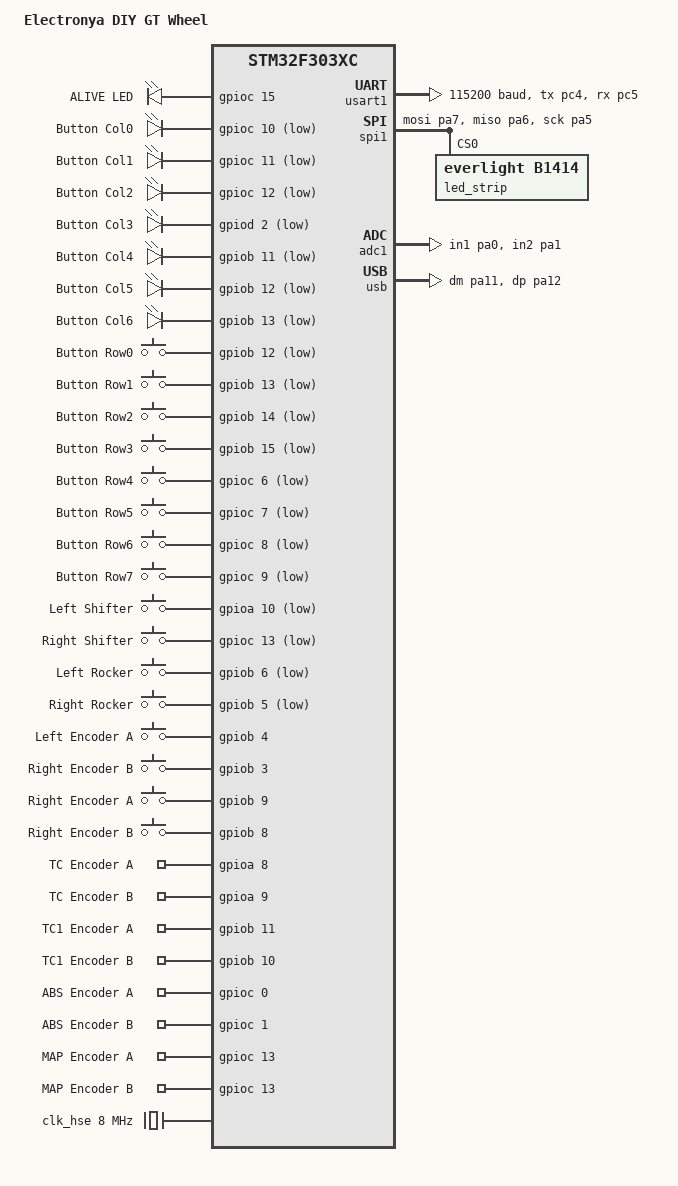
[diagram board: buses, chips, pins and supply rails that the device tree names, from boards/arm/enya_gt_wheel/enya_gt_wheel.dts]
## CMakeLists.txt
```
# Find Zephyr. This also loads Zephyr's build system.
cmake_minimum_required(VERSION 3.20.0)

# Set Zephyr environment
find_package(Zephyr REQUIRED HINTS $ENV{ZEPHYR_BASE})
project(app)

# Add application src directory to include path for modules (e.g., datastoreMeta.h)
zephyr_include_directories(${CMAKE_CURRENT_SOURCE_DIR}/src)

# Add your source file to the "app" target. This must come after
# find_package(Zephyr) which defines the target.
include(${CMAKE_CURRENT_SOURCE_DIR}/cmake/listSourcesAndIncludes.cmake)

set(SRC "")
set(INC "")

listSources(${CMAKE_CURRENT_SOURCE_DIR}/src SRC)
listIncludesDir(${CMAKE_CURRENT_SOURCE_DIR}/src INC)

# message("SRC: ${SRC}")
# message("INC: ${INC}")

target_sources(app PRIVATE ${SRC})
target_include_directories(app PRIVATE ${INC})
```

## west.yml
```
# Electronya GT Wheel Firmware Manifest
manifest:
  remotes:
    - name: electronya
      url-base: git@gitea.main-server.home:Electronya
    - name: zephyr
      url-base: https://github.com/zephyrproject-rtos

  self:
    path: app

  projects:
    - name: zephyr
      remote: zephyr
      repo-path: zephyr.git
      path: zephyr
      revision: v4.3-branch
      import: true
    - name: embedded-services
      remote: electronya
      repo-path: embedded-services.git
      path: apps/embedded-services
      revision: main
```

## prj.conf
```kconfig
# Shell configuration
CONFIG_SHELL=y

# Logging configuration
CONFIG_LOG=y
CONFIG_LOG_RUNTIME_FILTERING=y
CONFIG_LOG_BUFFER_SIZE=512
CONFIG_LOG_PRINTK=n
CONFIG_LOG_PROCESS_TRIGGER_THRESHOLD=0
CONFIG_LOG_DEFAULT_LEVEL=3

# Electronya services
CONFIG_ENYA_EMBEDDED_SERVICES=y
```

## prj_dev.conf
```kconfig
# Development overlay — applied on top of prj.conf via EXTRA_CONF_FILE
# (see activate.sh -d).

# Logging configuration
CONFIG_LOG_BUFFER_SIZE=1024
CONFIG_LOG_DEFAULT_LEVEL=4
CONFIG_SPI_LOG_LEVEL_OFF=y
CONFIG_DMA_LOG_LEVEL_OFF=y

# Thread Analyzer
# CONFIG_THREAD_ANALYZER=y
# CONFIG_THREAD_ANALYZER_USE_PRINTK=y
# CONFIG_THREAD_ANALYZER_AUTO=y
# CONFIG_THREAD_ANALYZER_AUTO_INTERVAL=10

# Core Dump
# CONFIG_DEBUG_COREDUMP=y
# CONFIG_DEBUG_COREDUMP_BACKEND_LOGGING=y
```

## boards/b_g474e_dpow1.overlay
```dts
#include <zephyr/dt-bindings/dma/stm32_dma.h>
#include <zephyr/dt-bindings/led/led.h>

/ {
  aliases {
    adc-trigger = &adc_trigger_counter;
    watchdog0 = &iwdg;
    led-strip = &ws2812;
    simhub-uart = &cdc_acm_uart0;
  };

  zephyr,user {
    io-channels = <&adc1 1>, <&adc1 2>, <&adc1 3>, <&adc1 18>;
    vref-channel-index = <3>;
  };
};

&dma1 {
  status = "okay";
};

&dmamux1 {
  status = "okay";
};

&timers6 {
  status = "okay";
  st,prescaler = <63999>;  // 128MHz / (63999 + 1) = 2kHz timer clock

  adc_trigger_counter: counter {
    compatible = "st,stm32-counter";
    status = "okay";
  };
};

&usart1 {
  status = "okay";
  pinctrl-0 = <&usart1_tx_pa9>;
  pinctrl-names = "default";
  current-speed = <4000000>;  // 128MHz APB2 / 32 = 4MHz (exact)
  data-bits = <8>;             // frame = 1+8+1 = 10 bits, multiple of bits-per-symbol=5
  tx-invert;                   // produce idle-low signal required by WS2812
  dmas = <&dmamux1 2 25 (STM32_DMA_MEMORY_TO_PERIPH | STM32_DMA_MEM_INC | STM32_DMA_PERIPH_8BITS | STM32_DMA_MEM_8BITS)>;
  dma-names = "tx";

  ws2812: ws2812 {
    compatible = "worldsemi,ws2812-uart";
    status = "okay";
    bits-per-symbol = <5>;
    one-symbol = <30>;  // 0b11110: T1H=1000ns T1L=250ns at 4MHz
    zero-symbol = <16>; // 0b10000: T0H=250ns  T0L=1000ns at 4MHz
    chain-length = <8>;
    color-mapping = <LED_COLOR_ID_GREEN
                     LED_COLOR_ID_RED
                     LED_COLOR_ID_BLUE>;
    reset-delay = <280>;
  };
};

&zephyr_udc0 {
  cdc_acm_uart0: cdc_acm_uart0 {
    compatible = "zephyr,cdc-acm-uart";
  };
};

&adc1 {
  status = "okay";
  pinctrl-0 = <&adc1_in1_pa0>, <&adc1_in2_pa1>, <&adc1_in3_pa2>;
  pinctrl-names = "default";
  st,adc-clock-source = "SYNC";
  st,adc-prescaler = <4>;
  #address-cells = <1>;
  #size-cells = <0>;

  dmas = <&dmamux1 1 5 (STM32_DMA_PERIPH_TO_MEMORY | STM32_DMA_MEM_INC | STM32_DMA_PERIPH_16BITS | STM32_DMA_MEM_16BITS)>;
  dma-names = "adc";

  channel1: channel@1 {
    reg = <1>;
    zephyr,gain = "ADC_GAIN_1";
    zephyr,reference = "ADC_REF_INTERNAL";
    zephyr,acquisition-time = <ADC_ACQ_TIME(ADC_ACQ_TIME_TICKS, 48)>;
    zephyr,oversampling = <4>;
    zephyr,resolution = <12>;
  };

  channel2: channel@2 {
    reg = <2>;
    zephyr,gain = "ADC_GAIN_1";
    zephyr,reference = "ADC_REF_INTERNAL";
    zephyr,acquisition-time = <ADC_ACQ_TIME(ADC_ACQ_TIME_TICKS, 48)>;
    zephyr,oversampling = <4>;
    zephyr,resolution = <12>;
  };

  channel3: channel@3 {
    reg = <3>;
    zephyr,gain = "ADC_GAIN_1";
    zephyr,reference = "ADC_REF_INTERNAL";
    zephyr,acquisition-time = <ADC_ACQ_TIME(ADC_ACQ_TIME_TICKS, 48)>;
    zephyr,oversampling = <4>;
    zephyr,resolution = <12>;
  };

  channel18: channel@12 {
    reg = <18>;
    zephyr,gain = "ADC_GAIN_1";
    zephyr,reference = "ADC_REF_INTERNAL";
    zephyr,acquisition-time = <ADC_ACQ_TIME(ADC_ACQ_TIME_TICKS, 48)>;
    zephyr,oversampling = <4>;
    zephyr,resolution = <12>;
  };
};
```

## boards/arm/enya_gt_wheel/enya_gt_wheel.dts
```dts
/*
 * Copyright (c) 2023 Electronya
 */

/dts-v1/;
#include <st/f3/stm32f303Xc.dtsi>
#include <st/f3/stm32f303v(b-c)tx-pinctrl.dtsi>
#include <zephyr/dt-bindings/led/led.h>

#include "./ws2812B-bindings.h"

/ {
	model = "Electronya DIY GT Wheel";
	compatible = "en,enya-gt-wheel";

	chosen {
		zephyr,console = &usart1;
		zephyr,shell-uart = &usart1;
		zephyr,sram = &sram0;
		zephyr,flash = &flash0;
	};

	leds {
		compatible = "gpio-leds";
		led_alive: led_alive {
			gpios = <&gpioc 15 GPIO_ACTIVE_HIGH>;
			label = "ALIVE LED";
		};

    /* the following are not LED but merely output GPIOs */
    btn_col0: btn_col0 {
			gpios = <&gpioc 10 GPIO_ACTIVE_LOW>;
			label = "Button Col0";
		};
    btn_col1: btn_col1 {
			gpios = <&gpioc 11 GPIO_ACTIVE_LOW>;
			label = "Button Col1";
		};
    btn_col2: btn_col2 {
			gpios = <&gpioc 12 GPIO_ACTIVE_LOW>;
			label = "Button Col2";
		};
    btn_col3: btn_col3 {
			gpios = <&gpiod 2 GPIO_ACTIVE_LOW>;
			label = "Button Col3";
		};
    btn_col4: btn_col4 {
			gpios = <&gpiob 11 GPIO_ACTIVE_LOW>;
			label = "Button Col4";
		};
    btn_col5: btn_col5 {
			gpios = <&gpiob 12 GPIO_ACTIVE_LOW>;
			label = "Button Col5";
		};
    btn_col6: btn_col6 {
			gpios = <&gpiob 13 GPIO_ACTIVE_LOW>;
			label = "Button Col6";
		};
	};

	gpio_keys {
		compatible = "gpio-keys";
		btn_row0: btn_row0 {
			gpios = <&gpiob 12 (GPIO_ACTIVE_LOW | GPIO_PULL_UP)>;
      label = "Button Row0";
		};
    btn_row1: btn_row1 {
			gpios = <&gpiob 13 (GPIO_ACTIVE_LOW | GPIO_PULL_UP)>;
      label = "Button Row1";
		};
    btn_row2: btn_row2 {
			gpios = <&gpiob 14 (GPIO_ACTIVE_LOW | GPIO_PULL_UP)>;
      label = "Button Row2";
		};
    btn_row3: btn_row3 {
			gpios = <&gpiob 15 (GPIO_ACTIVE_LOW | GPIO_PULL_UP)>;
      label = "Button Row3";
		};
    btn_row4: btn_row4 {
			gpios = <&gpioc 6 (GPIO_ACTIVE_LOW | GPIO_PULL_UP)>;
      label = "Button Row4";
		};
    btn_row5: btn_row5 {
			gpios = <&gpioc 7 (GPIO_ACTIVE_LOW | GPIO_PULL_UP)>;
      label = "Button Row5";
		};
    btn_row6: btn_row6 {
			gpios = <&gpioc 8 (GPIO_ACTIVE_LOW | GPIO_PULL_UP)>;
      label = "Button Row6";
		};
    btn_row7: btn_row7 {
			gpios = <&gpioc 9 (GPIO_ACTIVE_LOW | GPIO_PULL_UP)>;
      label = "Button Row7";
		};
    left_shifter: left_shifter {
			gpios = <&gpioa 10 (GPIO_ACTIVE_LOW)>;
      label = "Left Shifter";
		};
    right_shifter: right_shifter {
			gpios = <&gpioc 13 (GPIO_ACTIVE_LOW)>;
      label = "Right Shifter";
		};
    left_rocker: left_rocker {
			gpios = <&gpiob 6 (GPIO_ACTIVE_LOW)>;
      label = "Left Rocker";
		};
    right_rocker: right_rocker {
			gpios = <&gpiob 5 (GPIO_ACTIVE_LOW)>;
      label = "Right Rocker";
		};
    left_enc_a: left_enc_a {
			gpios = <&gpiob 4 (GPIO_ACTIVE_HIGH)>;
      label = "Left Encoder A";
		};
    left_enc_b: left_enc_b {
			gpios = <&gpiob 3 (GPIO_ACTIVE_HIGH)>;
      label = "Right Encoder B";
		};
    right_enc_a: right_enc_a {
			gpios = <&gpiob 9 (GPIO_ACTIVE_HIGH)>;
      label = "Right Encoder A";
		};
    right_enc_b: right_enc_b {
			gpios = <&gpiob 8 (GPIO_ACTIVE_HIGH)>;
      label = "Right Encoder B";
		};
    tc_enc_a: tc_enc_a {
			gpios = <&gpioa 8 (GPIO_ACTIVE_HIGH)>;
      label = "TC Encoder A";
		};
    tc_enc_b: tc_enc_b {
			gpios = <&gpioa 9 (GPIO_ACTIVE_HIGH)>;
      label = "TC Encoder B";
		};
    tc1_enc_a: tc1_enc_a {
			gpios = <&gpiob 11 (GPIO_ACTIVE_HIGH)>;
      label = "TC1 Encoder A";
		};
    tc1_enc_b: tc1_enc_b {
			gpios = <&gpiob 10 (GPIO_ACTIVE_HIGH)>;
      label = "TC1 Encoder B";
		};
    abs_enc_a: abs_enc_a {
			gpios = <&gpioc 0 (GPIO_ACTIVE_HIGH)>;
      label = "ABS Encoder A";
		};
    abs_enc_b: abs_enc_b {
			gpios = <&gpioc 1 (GPIO_ACTIVE_HIGH)>;
      label = "ABS Encoder B";
		};
    map_enc_a: map_enc_a {
			gpios = <&gpioc 13 (GPIO_ACTIVE_HIGH)>;
      label = "MAP Encoder A";
		};
    map_enc_b: map_enc_b {
			gpios = <&gpioc 13 (GPIO_ACTIVE_HIGH)>;
      label = "MAP Encoder B";
		};
	};

	aliases {
    /* led alive */
		alive = &led_alive;
		/* button columns */
    col0 = &btn_col0;
    col1 = &btn_col1;
    col2 = &btn_col2;
    col3 = &btn_col3;
    /* button rows */
    row0 = &btn_row0;
    row1 = &btn_row1;
    row2 = &btn_row2;
    row3 = &btn_row3;
    row4 = &btn_row4;
    row5 = &btn_row5;
    row6 = &btn_row6;
    row7 = &btn_row7;
    /* shifter */
    left-shifter = &left_shifter;
    right-shifter = &right_shifter;
    /* rocker */
    left-rocker = &left_rocker;
    right-rocker = &right_rocker;
    /* encoders */
    left-enc-a = &left_enc_a;
    left-enc-b = &left_enc_b;
    right-enc-a = &right_enc_a;
    right-enc-b = &right_enc_b;
    tc-enc-a = &tc_enc_a;
    tc-enc-b = &tc_enc_b;
    tc1-enc-a = &tc1_enc_a;
    tc1-enc-b = &tc1_enc_b;
    abs-enc-a = &abs_enc_a;
    abs-enc-b = &abs_enc_b;
    map-enc-a = &map_enc_a;
    map-enc-b = &map_enc_b;
    /* led strip */
    ledstrip = &led_strip;
    /* adc */
    adc = &adc1;
    /* usb */
    usb = &usb;
    /* watchdog */
    iwdg = &iwdg;
	};
};

&clk_lsi {
	status = "okay";
};

&clk_hse {
	hse-bypass;
	clock-frequency = <DT_FREQ_M(8)>; /* STLink 8MHz clock */
	status = "okay";
};

&pll {
	prediv = <1>;
	mul = <9>;
	clocks = <&clk_hse>;
	status = "okay";
};

&rcc {
	clocks = <&pll>;
	clock-frequency = <DT_FREQ_M(72)>;
	ahb-prescaler = <1>;
	apb1-prescaler = <2>;
	apb2-prescaler = <1>;
};

&usart1 {
	pinctrl-0 = <&usart1_tx_pc4 &usart1_rx_pc5>;
	pinctrl-names = "default";
	current-speed = <115200>;
	status = "okay";
};

&spi1 {
	pinctrl-0 = <&spi1_mosi_pa7 &spi1_miso_pa6 &spi1_sck_pa5>;
	pinctrl-names = "default";
	status = "okay";

  dmas = <&dma1 3 (STM32_DMA_PERIPH_TX | STM32_DMA_PRIORITY_HIGH)>,
		     <&dma1 2 (STM32_DMA_PERIPH_RX | STM32_DMA_PRIORITY_HIGH)>;
	dma-names = "tx", "rx";

  led_strip: ws2812@0 {
		compatible = "everlight,b1414", "worldsemi,ws2812-spi";
    status = "okay";
		/* SPI */
		reg = <0>; /* ignored, but necessary for SPI bindings */
		spi-max-frequency = <SPI_FREQ>;
		/* WS2812 */
    // TODO: set back to 14.
		chain-length = <8>;
		color-mapping = <LED_COLOR_ID_GREEN
                     LED_COLOR_ID_RED
                     LED_COLOR_ID_BLUE>;
		spi-one-frame = <ONE_FRAME>;
		spi-zero-frame = <ZERO_FRAME>;
    reset-delay = <250>;
	};
};

&adc1 {
  status = "okay";
  pinctrl-names = "default";
  pinctrl-0 = <&adc1_in1_pa0 &adc1_in2_pa1>;
};

zephyr_udc0: &usb {
  pinctrl-0 = <&usb_dm_pa11 &usb_dp_pa12>;
	pinctrl-names = "default";
	status = "okay";
  cdc_acm_uart0 {
		compatible = "zephyr,cdc-acm-uart";
	};
};

&iwdg {
  // TODO: enable at the end of dev.
	status = "disabled";
};

&dma1 {
  status = "okay";
};
```

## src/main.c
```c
/**
 * Copyright (C) 2026 by Electronya
 *
 * @file      main.c
 * @author    jbacon
 * @date      2026-09-23
 * @brief     DIY GT wheel Firmware
 *
 * This file is the entry point for the Electronya DIY GT Wheel.
 */

#include <zephyr/kernel.h>
#include <zephyr/logging/log.h>

LOG_MODULE_REGISTER(main);

int main(void)
{
  LOG_INF("booting gt wheel");

  return 0;
}
```
